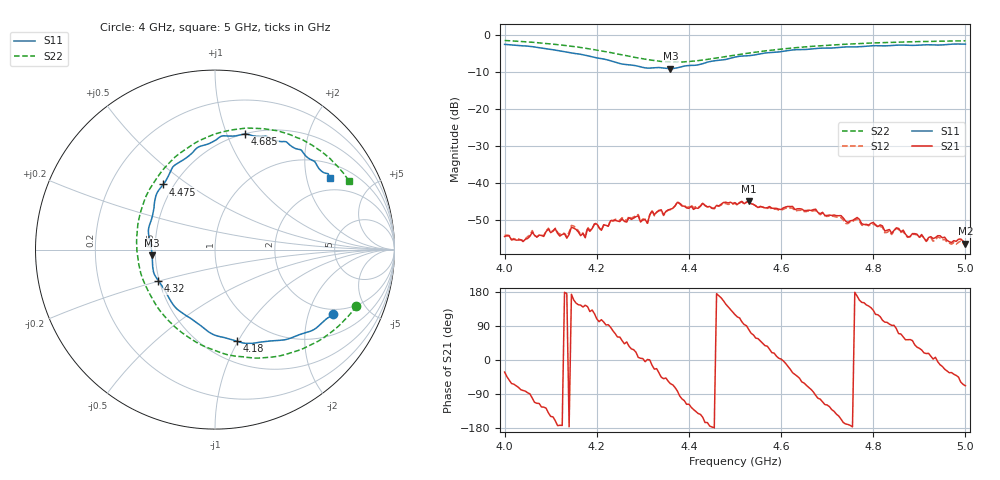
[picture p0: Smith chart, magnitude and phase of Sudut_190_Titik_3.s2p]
# Hz S RI R 50
! CMT, C1220, 16058040, 17.2.0/1
! Date: 15/08/2018 12:39:56
! Data: Format (Calibration Info)
! Freq  S11: Re/Im (F2)  S21: Re/Im (F2)  S12: Re/Im (F2)  S22: Re/Im (F2)
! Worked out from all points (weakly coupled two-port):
!   201 points, 4 GHz to 5 GHz, reference 50 ohm
!   highest |S21| = -44.98 dB at 4.53 GHz (marker M1); lowest = -56.5 dB at 5 GHz (marker M2)
!   lowest |S11| = -9.1 dB at 4.36 GHz (marker M3), VSWR 2.08, Z = 24 - j1.76 ohm
!   |S11| at or under -10 dB: nowhere
!   |S22| runs from -7.3 to -1.4 dB; largest |S21 - S12| = 0.00029
!   S11 on the Smith chart (normalised r, x): 4 GHz: 1.77, -2.92; 4.18 GHz: 0.70, -0.99; 4.32 GHz: 0.49, -0.20; 4.475 GHz: 0.44, +0.40; 4.685 GHz: 0.50, +1.16; 5 GHz: 1.48, +2.76
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4e9  0.6577 -0.3607  0.0016 -0.000989  0.0017 -0.000945  0.787 -0.3138
4.04e9  0.5766 -0.426  0.000266 -0.00158  0.000306 -0.00163  0.7111 -0.4031
4.11e9  0.3722 -0.5046  -0.00225 -0.000803  -0.00226 -0.00091  0.5237 -0.536
4.135e9  0.2876 -0.5114  -0.00177 0.000154  -0.00187 5.3e-05  0.4382 -0.5697
4.145e9  0.2475 -0.5161  -0.00249 0.00029  -0.00264 0.000212  0.4006 -0.5818
4.17e9  0.1554 -0.5201  -0.00157 0.00133  -0.00162 0.00133  0.3049 -0.5999
4.175e9  0.1395 -0.5159  -0.00147 0.00105  -0.00152 0.00105  0.2835 -0.6016
4.18e9  0.1226 -0.5112  -0.00186 0.00152  -0.00193 0.00162  0.2625 -0.6029
4.29e9  -0.2444 -0.2899  0.00354 0.000432  0.00371 0.000362  -0.2061 -0.445
4.31e9  -0.2889 -0.2114  0.00285 6.58e-05  0.00283 -5.1e-05  -0.2766 -0.3761
4.32e9  -0.3151 -0.1742  0.00405 -0.00102  0.00405 -0.00115  -0.3093 -0.3371
4.335e9  -0.3426 -0.1244  0.00353 -0.00237  0.00344 -0.00237  -0.3493 -0.2725
4.36e9  -0.35 -0.0321  0.00202 -0.00391  0.00207 -0.00381  -0.4058 -0.1564
4.375e9  -0.3594 0.0365  0.000772 -0.00541  0.000807 -0.00548  -0.4248 -0.0811
4.41e9  -0.3599 0.1504  -0.00285 -0.00332  -0.00308 -0.00344  -0.4343 0.0926
4.475e9  -0.2891 0.363  -0.00496 0.00219  -0.00477 0.0023  -0.339 0.3755
4.5e9  -0.2453 0.4411  -0.00267 0.00469  -0.00262 0.00459  -0.2791 0.4574
4.53e9  -0.1892 0.4917  0.000969 0.00555  0.000943 0.00548  -0.1958 0.5371
4.67e9  0.1402 0.6385  0.000439 -0.00432  0.000383 -0.00418  0.2059 0.6766
4.685e9  0.1669 0.6446  -0.000883 -0.00372  -0.000844 -0.00361  0.2452 0.6746
4.835e9  0.4483 0.563  -0.000193 0.00232  -0.000245 0.00223  0.5502 0.5758
5e9  0.6401 0.4002  0.000561 -0.00139  0.000536 -0.00128  0.7466 0.3821
